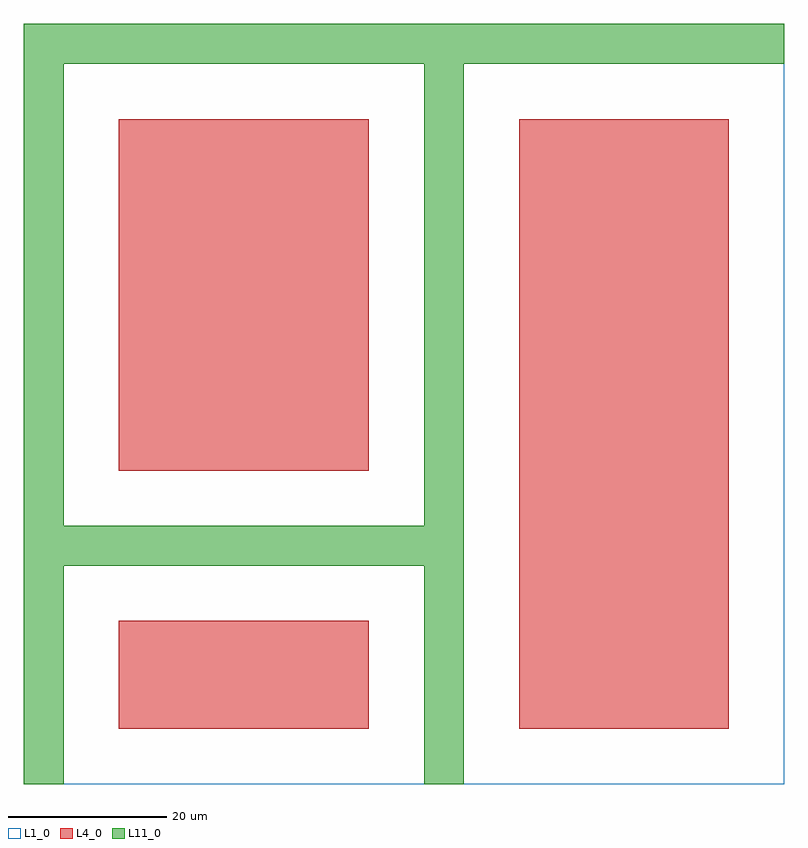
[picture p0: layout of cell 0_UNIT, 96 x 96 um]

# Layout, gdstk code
import gdstk
lib = gdstk.Library(unit=1e-6, precision=1e-09)
def R(c, l, rs):  # rectangles x0, y0, x1, y1
    for r in rs: c.add(gdstk.rectangle(r[:2], r[2:], *l))
L1_0 = (1, 0)
L4_0 = (4, 0)
L11_0 = (11, 0)

c_0_unit = lib.new_cell('0_UNIT')
R(c_0_unit, L1_0, [(0,0,96,96)])
R(c_0_unit, L4_0, [(12,7,43.55,20.6), (62.55,7,89,84), (12,39.6,43.55,84)])
R(c_0_unit, L11_0, [(0,0,5,96), (50.55,0,55.55,96), (0,27.6,50.55,32.6), (0,91,96,96)])

lib.write_gds('0_UNIT.gds')
